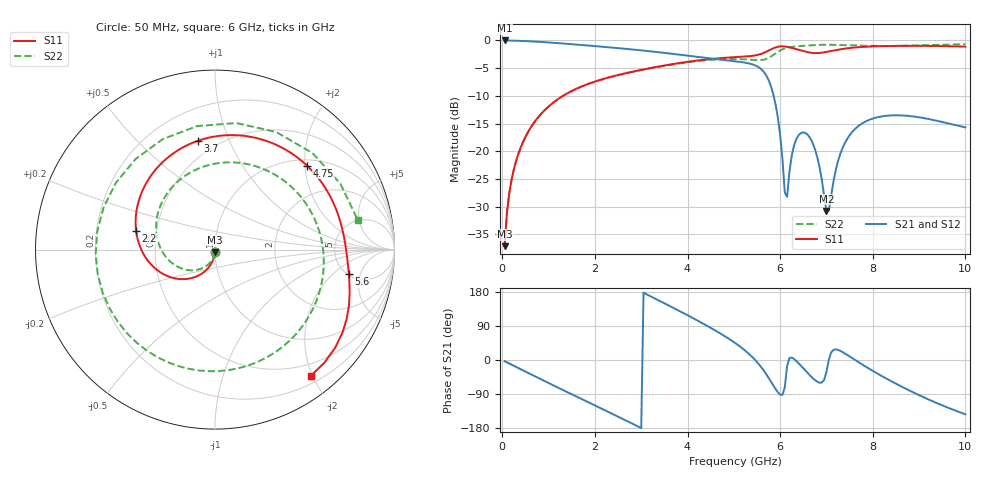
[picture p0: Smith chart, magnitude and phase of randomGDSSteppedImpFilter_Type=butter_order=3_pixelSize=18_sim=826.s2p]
! freq	dB(S11)	phase(S11)	dB(S12)	phase(S12)
!  dB(S21)	phase(S21)	dB(S22)	phase(S22)
!S-par simulation data
#  GHz  S  DB  R 50
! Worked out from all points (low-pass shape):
!   200 points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, 50 MHz to 10 GHz, reference 50 ohm
!   highest |S21| = -0.01 dB at 50 MHz (marker M1); lowest = -30.8 dB at 7 GHz (marker M2)
!   |S21| within 3 dB of the highest: start of sweep to 4.25 GHz
!   lowest |S11| = -37.1 dB at 50 MHz (marker M3), VSWR 1.03, Z = 49.9 - j1.39 ohm
!   |S11| at or under -10 dB: start of sweep to 1.312 GHz
!   |S22| runs from -37.1 to -0.7 dB; largest |S21 - S12| = 0
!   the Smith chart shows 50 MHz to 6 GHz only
!   S11 on the Smith chart (normalised r, x): 50 MHz: 1.00, -0.03; 2.2 GHz: 0.38, +0.10; 3.7 GHz: 0.40, +0.77; 4.75 GHz: 1.14, +2.05; 5.6 GHz: 5.09, -3.29; 6 GHz: 0.31, -1.97
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0.05  -37.13 -92.2  -0.01 -3.1  -0.01 -3.1  -37.14 -93.4
0.2  -25.15 -100.0  -0.03 -12.3  -0.03 -12.3  -25.17 -104.7
0.5  -17.41 -115.4  -0.12 -30.6  -0.12 -30.6  -17.43 -126.9
1.15  -10.91 -146.6  -0.46 -69.7  -0.46 -69.7  -10.93 -174.2
1.75  -8.18 -173.7  -0.85 -105.2  -0.85 -105.2  -8.21 141.9
2.2  -6.91 166.8  -1.17 -131.7  -1.17 -131.7  -6.94 108.4
3.4  -4.67 113.4  -2.15 155.9  -2.15 155.9  -4.73 17.4
3.7  -4.24 98.9  -2.45 137.2  -2.45 137.2  -4.31 -5.2
4.75  -3.17 42.4  -3.50 66.9  -3.50 66.9  -3.39 -88.1
5.05  -3.01 24.5  -3.78 43.0  -3.78 43.0  -3.35 -118.0
5.6  -2.40 -10.4  -5.26 -20.3  -5.26 -20.3  -3.53 146.0
5.8  -1.63 -27.8  -8.22 -56.9  -8.22 -56.9  -2.91 80.5
6  -1.08 -52.9  -17.09 -91.3  -17.09 -91.3  -1.81 11.7
6.15  -1.16 -75.0  -28.24 -16.0  -28.24 -16.0  -1.32 -28.5
6.35  -1.58 -108.1  -17.80 -2.7  -17.80 -2.7  -1.07 -66.6
6.7  -2.26 179.5  -18.49 -47.4  -18.49 -47.4  -0.87 -111.5
7  -2.08 113.3  -30.76 -31.5  -30.76 -31.5  -0.78 -141.7
7.25  -1.68 69.5  -21.77 26.7  -21.77 26.7  -0.81 -164.6
7.6  -1.28 26.7  -16.12 1.4  -16.12 1.4  -0.92 165.2
8.35  -1.01 -28.2  -13.56 -52.7  -13.56 -52.7  -1.01 102.3
9.2  -0.99 -68.9  -14.17 -104.0  -14.17 -104.0  -0.84 36.0
10  -1.12 -101.8  -15.70 -143.4  -15.70 -143.4  -0.69 -14.3
